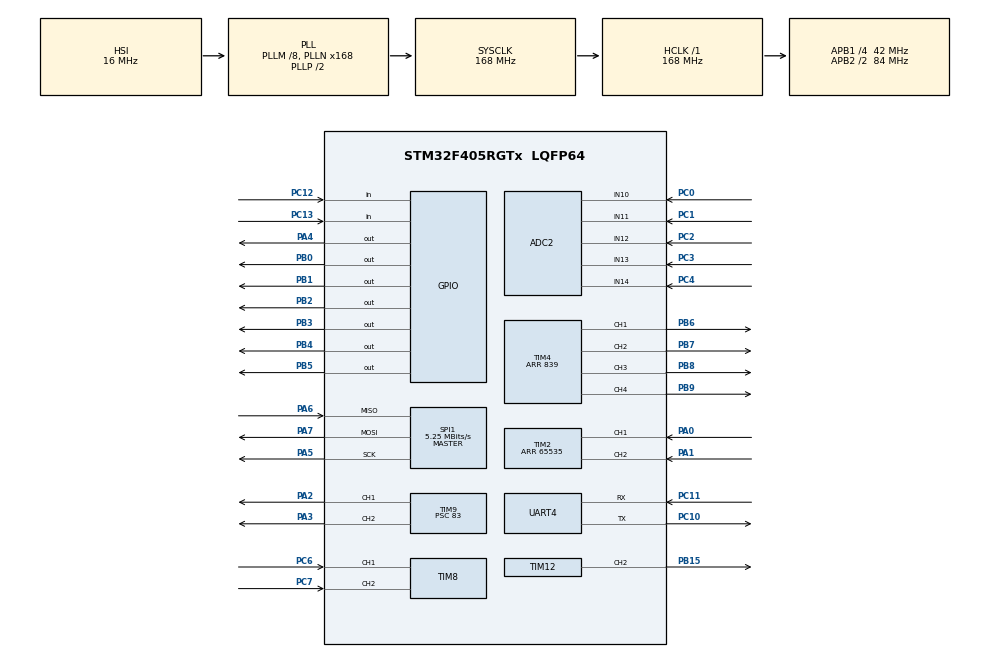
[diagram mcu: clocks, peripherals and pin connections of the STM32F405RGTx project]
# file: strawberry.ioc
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ADC2.Channel-0\#ChannelRegularConversion=ADC_CHANNEL_10
ADC2.Channel-1\#ChannelRegularConversion=ADC_CHANNEL_11
ADC2.Channel-2\#ChannelRegularConversion=ADC_CHANNEL_12
ADC2.Channel-3\#ChannelRegularConversion=ADC_CHANNEL_13
ADC2.Channel-4\#ChannelRegularConversion=ADC_CHANNEL_14
ADC2.ContinuousConvMode=ENABLE
ADC2.DMAContinuousRequests=ENABLE
ADC2.InjNumberOfConversion=0
ADC2.NbrOfConversion=5
ADC2.NbrOfConversionFlag=1
ADC2.Rank-0\#ChannelRegularConversion=1
ADC2.Rank-1\#ChannelRegularConversion=2
ADC2.Rank-2\#ChannelRegularConversion=3
ADC2.Rank-3\#ChannelRegularConversion=4
ADC2.Rank-4\#ChannelRegularConversion=5
ADC2.SamplingTime-0\#ChannelRegularConversion=ADC_SAMPLETIME_84CYCLES
ADC2.SamplingTime-1\#ChannelRegularConversion=ADC_SAMPLETIME_84CYCLES
ADC2.SamplingTime-2\#ChannelRegularConversion=ADC_SAMPLETIME_84CYCLES
ADC2.SamplingTime-3\#ChannelRegularConversion=ADC_SAMPLETIME_84CYCLES
ADC2.SamplingTime-4\#ChannelRegularConversion=ADC_SAMPLETIME_84CYCLES
ADC2.ScanConvMode=ENABLE
Dma.ADC2.0.Direction=DMA_PERIPH_TO_MEMORY
Dma.ADC2.0.FIFOMode=DMA_FIFOMODE_DISABLE
Dma.ADC2.0.Instance=DMA2_Stream2
Dma.ADC2.0.MemDataAlignment=DMA_MDATAALIGN_HALFWORD
Dma.ADC2.0.MemInc=DMA_MINC_ENABLE
Dma.ADC2.0.Mode=DMA_CIRCULAR
Dma.ADC2.0.PeriphDataAlignment=DMA_PDATAALIGN_HALFWORD
Dma.ADC2.0.PeriphInc=DMA_PINC_DISABLE
Dma.ADC2.0.Priority=DMA_PRIORITY_HIGH
Dma.Request0=ADC2
Mcu.Family=STM32F4
Mcu.Name=STM32F405RGTx
Mcu.Package=LQFP64
NVIC.DMA2_Stream2_IRQn=true\:0\:0\:false\:false\:true\:false\:true
NVIC.PriorityGroup=NVIC_PRIORITYGROUP_4
NVIC.TIM6_DAC_IRQn=true\:0\:0\:false\:false\:true\:true\:true
PA0-WKUP.Signal=S_TIM2_CH1_ETR
PA1.Signal=S_TIM2_CH2
PA13.Signal=SYS_JTMS-SWDIO
PA14.Signal=SYS_JTCK-SWCLK
PA2.Signal=S_TIM9_CH1
PA3.Signal=S_TIM9_CH2
PA4.Signal=GPIO_Output
PA5.GPIO_PuPd=GPIO_PULLUP
PA5.Mode=Full_Duplex_Master
PA5.Signal=SPI1_SCK
PA6.GPIO_PuPd=GPIO_PULLUP
PA6.Mode=Full_Duplex_Master
PA6.Signal=SPI1_MISO
PA7.GPIO_PuPd=GPIO_PULLUP
PA7.Mode=Full_Duplex_Master
PA7.Signal=SPI1_MOSI
PB0.Signal=GPIO_Output
PB1.Signal=GPIO_Output
PB15.Signal=S_TIM12_CH2
PB2.Signal=GPIO_Output
PB3.Signal=GPIO_Output
PB4.Signal=GPIO_Output
PB5.Signal=GPIO_Output
PB6.Signal=S_TIM4_CH1
PB7.Signal=S_TIM4_CH2
PB8.Signal=S_TIM4_CH3
PB9.Signal=S_TIM4_CH4
PC0.Signal=ADCx_IN10
PC1.Signal=ADCx_IN11
PC10.Mode=Asynchronous
PC10.Signal=UART4_TX
PC11.Mode=Asynchronous
PC11.Signal=UART4_RX
PC12.Signal=GPIO_Input
PC13-ANTI_TAMP.Signal=GPIO_Input
PC2.Signal=ADCx_IN12
PC3.Signal=ADCx_IN13
PC4.Signal=ADCx_IN14
PC6.Signal=S_TIM8_CH1
PC7.Signal=S_TIM8_CH2
ProjectManager.HeapSize=0x200
ProjectManager.StackSize=0x400
ProjectManager.TargetToolchain=Makefile
RCC.48MHZClocksFreq_Value=84000000
RCC.AHBFreq_Value=168000000
RCC.APB1CLKDivider=RCC_HCLK_DIV4
RCC.APB1Freq_Value=42000000
RCC.APB1TimFreq_Value=84000000
RCC.APB2CLKDivider=RCC_HCLK_DIV2
RCC.APB2Freq_Value=84000000
RCC.APB2TimFreq_Value=168000000
RCC.CortexFreq_Value=168000000
RCC.HCLKFreq_Value=168000000
RCC.HSE_VALUE=25000000
RCC.HSI_VALUE=16000000
RCC.LSE_VALUE=32768
RCC.PLLM=8
RCC.PLLN=168
RCC.SYSCLKFreq_VALUE=168000000
RCC.SYSCLKSource=RCC_SYSCLKSOURCE_PLLCLK
RCC.VCOOutputFreq_Value=336000000
SH.ADCx_IN10.0=ADC2_IN10,IN10
SH.ADCx_IN11.0=ADC2_IN11,IN11
SH.ADCx_IN12.0=ADC2_IN12,IN12
SH.ADCx_IN13.0=ADC2_IN13,IN13
SH.ADCx_IN14.0=ADC2_IN14,IN14
SH.S_TIM12_CH2.0=TIM12_CH2,PWM Generation2 CH2
SH.S_TIM2_CH1_ETR.0=TIM2_CH1,Encoder_Interface
SH.S_TIM2_CH2.0=TIM2_CH2,Encoder_Interface
SH.S_TIM4_CH1.0=TIM4_CH1,PWM Generation1 CH1
SH.S_TIM4_CH2.0=TIM4_CH2,PWM Generation2 CH2
SH.S_TIM4_CH3.0=TIM4_CH3,PWM Generation3 CH3
SH.S_TIM4_CH4.0=TIM4_CH4,PWM Generation4 CH4
SH.S_TIM8_CH1.0=TIM8_CH1,Encoder_Interface
SH.S_TIM8_CH2.0=TIM8_CH2,Encoder_Interface
SH.S_TIM9_CH1.0=TIM9_CH1,PWM Generation1 CH1
SH.S_TIM9_CH2.0=TIM9_CH2,PWM Generation2 CH2
SPI1.BaudRatePrescaler=SPI_BAUDRATEPRESCALER_16
SPI1.CLKPhase=SPI_PHASE_2EDGE
SPI1.CLKPolarity=SPI_POLARITY_LOW
SPI1.CRCCalculation=SPI_CRCCALCULATION_DISABLE
SPI1.CalculateBaudRate=5.25 MBits/s
SPI1.Direction=SPI_DIRECTION_2LINES
SPI1.FirstBit=SPI_FIRSTBIT_MSB
SPI1.Mode=SPI_MODE_MASTER
SPI1.VirtualType=VM_MASTER
TIM12.Channel-PWM\ Generation2\ CH2=TIM_CHANNEL_2
TIM2.EncoderMode=TIM_ENCODERMODE_TI12
TIM2.IC2Polarity=TIM_ICPOLARITY_RISING
TIM2.Period=65535
TIM4.Channel-PWM\ Generation1\ CH1=TIM_CHANNEL_1
TIM4.Channel-PWM\ Generation2\ CH2=TIM_CHANNEL_2
TIM4.Channel-PWM\ Generation3\ CH3=TIM_CHANNEL_3
TIM4.Channel-PWM\ Generation4\ CH4=TIM_CHANNEL_4
TIM4.Period=839
TIM6.Period=9
TIM6.Prescaler=83
TIM8.EncoderMode=TIM_ENCODERMODE_TI12
TIM8.IC2Polarity=TIM_ICPOLARITY_RISING
TIM9.Channel-PWM\ Generation1\ CH1=TIM_CHANNEL_1
TIM9.Channel-PWM\ Generation2\ CH2=TIM_CHANNEL_2
TIM9.OC1Preload_PWM=DISABLE
TIM9.OC2Preload_PWM=DISABLE
TIM9.Period=99
TIM9.Prescaler=83
UART4.VirtualMode=Asynchronous
VP_TIM4_VS_ClockSourceINT.Mode=Internal
VP_TIM6_VS_ClockSourceINT.Mode=Enable_Timer
board=custom

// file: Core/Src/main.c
/* USER CODE BEGIN Header */
/**
 ******************************************************************************
 * @file           : main.c
 * @brief          : Main program body
 ******************************************************************************
 * @attention
 *
 * Copyright (c) 2021 STMicroelectronics.
 * All rights reserved.
 *
 * This software is licensed under terms that can be found in the LICENSE file
 * in the root directory of this software component.
 * If no LICENSE file comes with this software, it is provided AS-IS.
 *
 ******************************************************************************
 */
/* USER CODE END Header */
#include "main.h"
#include "adc.h"
#include "dma.h"
#include "spi.h"
#include "tim.h"
#include "usart.h"
#include "gpio.h"

/* USER CODE BEGIN Includes */
#include <stdio.h>
#include "SEGGER_RTT.h"
/* USER CODE END Includes */

/* USER CODE BEGIN PTD */
uint16_t g_adc_data[5] = {0};
/* USER CODE END PTD */

/* USER CODE BEGIN PV */
/*
int _write(int file, char *ptr, int len)
{
  HAL_UART_Transmit(&huart4,(uint8_t *)ptr,len,10);
  return len;
}
*/
/* USER CODE END PV */

void SystemClock_Config(void);

/* USER CODE BEGIN 0 */
void HAL_TIM_PeriodElapsedCallback(TIM_HandleTypeDef *htim)
{
  static uint32_t callback_counter = 0;
  const uint32_t frequency = 100 * 10000;
  if (htim == &htim6) // 100kHz
  {
    callback_counter = (callback_counter + 1) % frequency;
    if (callback_counter == 0)
    {
      // HAL_GPIO_TogglePin(GPIOB, GPIO_PIN_0 | GPIO_PIN_1 | GPIO_PIN_2 | GPIO_PIN_3 | GPIO_PIN_4 | GPIO_PIN_5);
    }
    ir_sampling();
    if (callback_counter % 50 == 0) // 2kHz
    {
      ir_update();
    }
  }
}
/* USER CODE END 0 */

int main(void)
{

  /* MCU Configuration--------------------------------------------------------*/

  /* Reset of all peripherals, Initializes the Flash interface and the Systick. */
  HAL_Init();

  /* USER CODE BEGIN Init */
  SEGGER_RTT_Init();
  SEGGER_RTT_printf(1, "HELO WORLD\r\n");
  SEGGER_RTT_printf(0, "HELO WORLD\r\n");

  /* USER CODE END Init */

  /* Configure the system clock */
  SystemClock_Config();

  /* Initialize all configured peripherals */
  MX_GPIO_Init();
  MX_TIM2_Init();
  MX_TIM4_Init();
  MX_TIM9_Init();
  MX_TIM12_Init();
  MX_DMA_Init();
  MX_ADC2_Init();
  MX_UART4_Init();
  MX_SPI1_Init();
  MX_TIM6_Init();
  MX_TIM8_Init();
  /* USER CODE BEGIN 2 */
  HAL_GPIO_WritePin(GPIOB, GPIO_PIN_0 | GPIO_PIN_1 | GPIO_PIN_2 | GPIO_PIN_3 | GPIO_PIN_4 | GPIO_PIN_5, GPIO_PIN_SET);
  while (HAL_GPIO_ReadPin(GPIOC, GPIO_PIN_13) == GPIO_PIN_RESET)
    ;
  HAL_GPIO_WritePin(GPIOB, GPIO_PIN_0 | GPIO_PIN_1 | GPIO_PIN_2 | GPIO_PIN_3 | GPIO_PIN_4 | GPIO_PIN_5, GPIO_PIN_RESET);

  HAL_ADC_Start(&hadc2);
  if (HAL_ADC_Start_DMA(&hadc2, (uint32_t *)g_adc_data, 5) != HAL_OK)
  {
    Error_Handler();
  }

  /*
  HAL_TIM_Base_Start_IT(&htim6);
  ir_flash_start();
  */
  HAL_TIM_Base_Start_IT(&htim4);
  start_encoder();

  SEGGER_RTT_printf(0, "GYRO WHO_AM_I %d\n", spi_gyro_read(GYRO_WHO_AM_I));
  spi_gyro_read(GYRO_WHO_AM_I);
  spi_gyro_read(GYRO_WHO_AM_I);
  spi_gyro_read(GYRO_WHO_AM_I);
  if (spi_gyro_read(GYRO_WHO_AM_I) != 215)
  {
    while (1)
      ;
  }
  set_gyro_configuration();

  /* USER CODE END 2 */

  /* Infinite loop */
  while (1)
  {

    /* USER CODE BEGIN 3 */
    // HAL_GPIO_TogglePin(GPIOB, GPIO_PIN_0 | GPIO_PIN_1 | GPIO_PIN_2 | GPIO_PIN_3 | GPIO_PIN_4 | GPIO_PIN_5);

    /*
    SEGGER_RTT_printf(0, "ADC %d %d %d %d\n", adc_data[0], adc_data[1], adc_data[2], adc_data[3]);

    SEGGER_RTT_printf(0, "BATTERY %d\n", adc_data[4]);
    SEGGER_RTT_printf(0, "GYRO WHO_AM_I %d\n", spi_gyro_read(WHO_AM_I));
    */
    /*
    while(HAL_GPIO_ReadPin(GPIOC, GPIO_PIN_13) == GPIO_PIN_RESET){
      stop_motor();
    }
    set_motor_pulse(50,50);
    */
    SEGGER_RTT_printf(0, "TIM3: %d, TIM4: %d\n", TIM2->CNT, TIM8->CNT);

    SEGGER_RTT_printf(0, "GYRO %d\n", read_gyro_z());
    SEGGER_RTT_printf(0, "ADC %d %d %d %d\n",
                      ir_sensor_value[0],
                      ir_sensor_value[1],
                      ir_sensor_value[2],
                      ir_sensor_value[3]);
    HAL_GPIO_WritePin(GPIOB, GPIO_PIN_2, ir_sensor_value[0] >= 2300); // Left front
    HAL_GPIO_WritePin(GPIOB, GPIO_PIN_3, ir_sensor_value[1] >= 2600); // Right front
    HAL_GPIO_WritePin(GPIOB, GPIO_PIN_0, ir_sensor_value[2] >= 2200); // Left
    HAL_GPIO_WritePin(GPIOB, GPIO_PIN_5, ir_sensor_value[3] >= 2200); // Right

    HAL_Delay(100);
  }
  /* USER CODE END 3 */
}

void SystemClock_Config(void)
{
  RCC_OscInitTypeDef RCC_OscInitStruct = {0};
  RCC_ClkInitTypeDef RCC_ClkInitStruct = {0};

  /** Configure the main internal regulator output voltage
   */
  __HAL_RCC_PWR_CLK_ENABLE();
  __HAL_PWR_VOLTAGESCALING_CONFIG(PWR_REGULATOR_VOLTAGE_SCALE1);
  /** Initializes the RCC Oscillators according to the specified parameters
   * in the RCC_OscInitTypeDef structure.
   */
  RCC_OscInitStruct.OscillatorType = RCC_OSCILLATORTYPE_HSI;
  RCC_OscInitStruct.HSIState = RCC_HSI_ON;
  RCC_OscInitStruct.HSICalibrationValue = RCC_HSICALIBRATION_DEFAULT;
  RCC_OscInitStruct.PLL.PLLState = RCC_PLL_ON;
  RCC_OscInitStruct.PLL.PLLSource = RCC_PLLSOURCE_HSI;
  RCC_OscInitStruct.PLL.PLLM = 8;
  RCC_OscInitStruct.PLL.PLLN = 168;
  RCC_OscInitStruct.PLL.PLLP = RCC_PLLP_DIV2;
  RCC_OscInitStruct.PLL.PLLQ = 4;
  if (HAL_RCC_OscConfig(&RCC_OscInitStruct) != HAL_OK)
  {
    Error_Handler();
  }
  /** Initializes the CPU, AHB and APB buses clocks
   */
  RCC_ClkInitStruct.ClockType = RCC_CLOCKTYPE_HCLK | RCC_CLOCKTYPE_SYSCLK | RCC_CLOCKTYPE_PCLK1 | RCC_CLOCKTYPE_PCLK2;
  RCC_ClkInitStruct.SYSCLKSource = RCC_SYSCLKSOURCE_PLLCLK;
  RCC_ClkInitStruct.AHBCLKDivider = RCC_SYSCLK_DIV1;
  RCC_ClkInitStruct.APB1CLKDivider = RCC_HCLK_DIV4;
  RCC_ClkInitStruct.APB2CLKDivider = RCC_HCLK_DIV2;

  if (HAL_RCC_ClockConfig(&RCC_ClkInitStruct, FLASH_LATENCY_5) != HAL_OK)
  {
    Error_Handler();
  }
}

void Error_Handler(void)
{
  __disable_irq();
  while (1)
  {
  }
}
